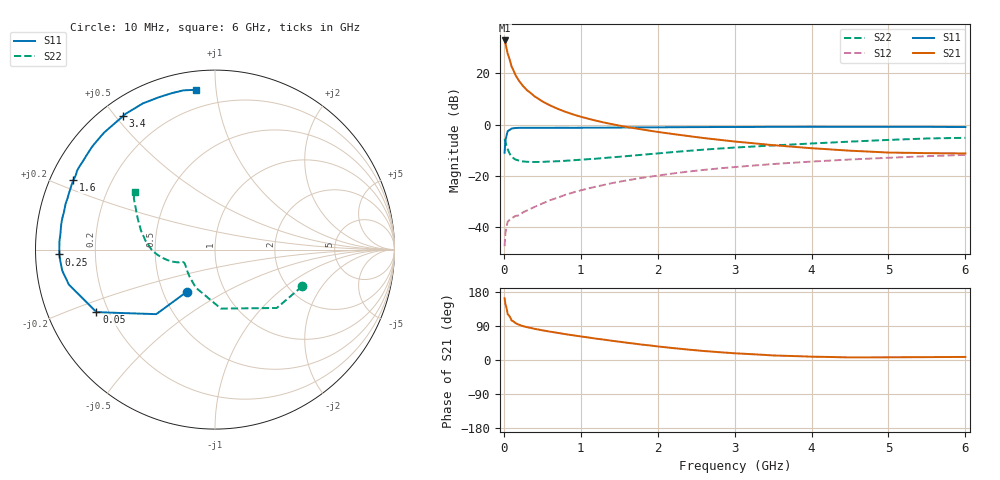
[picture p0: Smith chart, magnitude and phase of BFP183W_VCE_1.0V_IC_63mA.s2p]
! Infineon Technologies  Discrete & RF Semiconductors
! BFP183W
! VCE =  1.0 V,  IC =  63 mA
! Common Emitter S-Parameters:  Jan 2017
# GHz  S  MA  R  50
!  f  S11  S21  S12  S22
! GHz  MAG  ANG  MAG  ANG  MAG  ANG  MAG  ANG
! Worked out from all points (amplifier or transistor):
!   77 points, 10 MHz to 6 GHz, reference 50 ohm
!   highest |S21| = 32.9 dB at 10 MHz (marker M1)
!   |S21| within 3 dB of that: start of sweep to 34.4 MHz
!   unconditionally stable (mu >= 1): start of sweep to 18.81 MHz; 179.9 MHz to end of sweep
!   at 130 MHz: K = 0.80, MSG = 28.5 dB, |S12| = -36.1 dB
!   at 2.2 GHz: K = 1.49, MAG = 3.6 dB, |S12| = -19.1 dB
!   at 6 GHz: K = 1.46, MAG = -3.7 dB, |S12| = -11.8 dB
!   S11 on the Smith chart (normalised r, x): 10 MHz: 0.66, -0.34; 50 MHz: 0.15, -0.24; 250 MHz: 0.07, -0.02; 1.6 GHz: 0.07, +0.23; 3.4 GHz: 0.07, +0.52; 6 GHz: 0.10, +0.88
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0.01  0.282 -123.7  44.18 162.9  0.0042 66.0  0.5269 -22.8
0.02  0.4862 -132.3  39.18 147.3  0.0075 55.0  0.4736 -43.4
0.05  0.7464 -152.2  24.4 120.9  0.0127 38.2  0.3303 -84.2
0.1  0.837 -166.5  13.69 104.5  0.0146 36.3  0.2378 -116.6
0.15  0.8589 -172.1  9.361 97.5  0.0164 36.2  0.2079 -132.7
0.2  0.8639 -175.6  7.066 92.8  0.0168 41.9  0.1965 -141.3
0.25  0.8678 -178.2  5.666 89.3  0.0193 44.8  0.1903 -147.1
0.3  0.8672 180.0  4.724 86.7  0.0209 46.6  0.1875 -150.7
0.4  0.868 176.8  3.559 82.1  0.0246 53.3  0.1858 -154.9
0.5  0.8655 174.3  2.845 78.3  0.0286 57.0  0.1867 -157.0
0.6  0.867 172.2  2.375 74.8  0.0332 59.8  0.1902 -158.4
0.7  0.8684 170.3  2.036 71.6  0.0373 62.4  0.1923 -159.0
0.9  0.8671 166.3  1.581 65.2  0.047 65.2  0.2009 -159.7
1.1  0.8708 162.8  1.301 59.4  0.0566 66.0  0.2109 -160.3
1.3  0.872 159.1  1.1 53.8  0.0661 65.7  0.222 -161.4
1.6  0.8789 153.9  0.898 45.6  0.0812 65.0  0.2423 -163.8
2.1  0.8864 144.9  0.686 33.7  0.1059 61.7  0.2816 -169.1
3.1  0.898 129.0  0.452 16.7  0.1521 52.9  0.3625 178.0
3.4  0.9028 124.6  0.41 13.3  0.1651 50.3  0.384 173.8
4.1  0.9067 115.0  0.338 8.4  0.1929 43.6  0.4347 163.6
5.1  0.9039 104.6  0.283 7.2  0.2279 34.8  0.5085 151.0
6  0.8966 96.8  0.273 8.1  0.2562 27.2  0.5518 144.2
